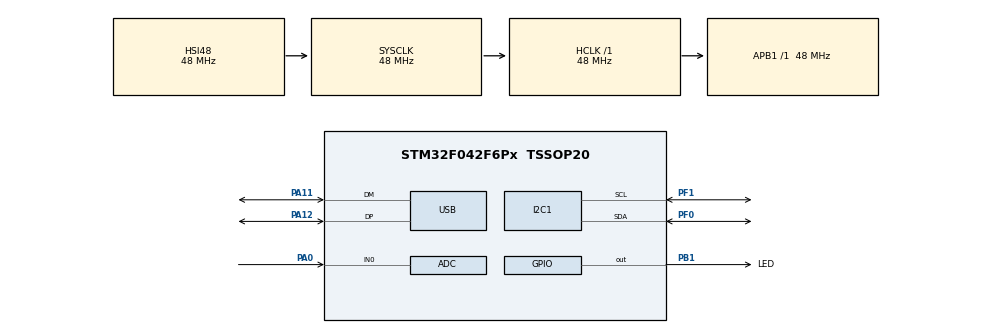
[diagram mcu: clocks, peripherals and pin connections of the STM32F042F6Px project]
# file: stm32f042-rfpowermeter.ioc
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ADC.ContinuousConvMode=ENABLE
Dma.ADC.0.Direction=DMA_PERIPH_TO_MEMORY
Dma.ADC.0.Instance=DMA1_Channel1
Dma.ADC.0.MemDataAlignment=DMA_MDATAALIGN_HALFWORD
Dma.ADC.0.MemInc=DMA_MINC_ENABLE
Dma.ADC.0.Mode=DMA_CIRCULAR
Dma.ADC.0.PeriphDataAlignment=DMA_PDATAALIGN_HALFWORD
Dma.ADC.0.PeriphInc=DMA_PINC_DISABLE
Dma.ADC.0.Priority=DMA_PRIORITY_LOW
Dma.Request0=ADC
Mcu.Family=STM32F0
Mcu.Name=STM32F042F6Px
Mcu.Package=TSSOP20
NVIC.DMA1_Channel1_IRQn=true\:0\:0\:false\:false\:true\:false\:true
NVIC.USB_IRQn=true\:0\:0\:false\:false\:true\:false\:true
PA0.Mode=IN0
PA0.Signal=ADC_IN0
PA11.Mode=Device
PA11.Signal=USB_DM
PA12.Mode=Device
PA12.Signal=USB_DP
PA13.Mode=Serial_Wire
PA13.Signal=SYS_SWDIO
PA14.Mode=Serial_Wire
PA14.Signal=SYS_SWCLK
PB1.GPIO_Label=LED
PB1.Signal=GPIO_Output
PF0-OSC_IN.Mode=I2C
PF0-OSC_IN.Signal=I2C1_SDA
PF1-OSC_OUT.Mode=I2C
PF1-OSC_OUT.Signal=I2C1_SCL
ProjectManager.HeapSize=0x100
ProjectManager.StackSize=0x100
ProjectManager.TargetToolchain=STM32CubeIDE
RCC.AHBFreq_Value=48000000
RCC.APB1Freq_Value=48000000
RCC.APB1TimFreq_Value=48000000
RCC.HCLKFreq_Value=48000000
RCC.SYSCLKFreq_VALUE=48000000
RCC.SYSCLKSource=RCC_SYSCLKSOURCE_HSI48
USB_DEVICE.APP_RX_DATA_SIZE=64
USB_DEVICE.APP_TX_DATA_SIZE=64
USB_DEVICE.CLASS_NAME_FS=CDC
USB_DEVICE.MANUFACTURER_STRING=ImanMicroelectronics
USB_DEVICE.PRODUCT_STRING_CDC_FS=Iman Virtual ComPort
USB_DEVICE.VirtualMode=Cdc
USB_DEVICE.VirtualModeFS=Cdc_FS
VP_SYS_VS_PINREMAP.Mode=PINREMAP
VP_USB_DEVICE_VS_USB_DEVICE_CDC_FS.Mode=CDC_FS
board=custom

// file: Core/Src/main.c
/* USER CODE BEGIN Header */
/**
  ******************************************************************************
  * @file           : main.c
  * @brief          : Main program body
  ******************************************************************************
  * @attention
  *
  * <h2><center>&copy; Copyright (c) 2020 STMicroelectronics.
  * All rights reserved.</center></h2>
  *
  * This software component is licensed by ST under BSD 3-Clause license,
  * the "License"; You may not use this file except in compliance with the
  * License. You may obtain a copy of the License at:
  *                        opensource.org/licenses/BSD-3-Clause
  *
  ******************************************************************************
  */
/* USER CODE END Header */
#include "main.h"
#include "usb_device.h"

/* USER CODE BEGIN Includes */
#include "ssd1306.h"
#include "stdio.h"
#include "usbd_cdc_if.h"
/* USER CODE END Includes */

/* USER CODE BEGIN PTD */
#define ADC_BUFFER_SIZE 64
/* USER CODE END PTD */

ADC_HandleTypeDef hadc;
DMA_HandleTypeDef hdma_adc;

I2C_HandleTypeDef hi2c1;

/* USER CODE BEGIN PV */
static uint16_t adcBuffer[ADC_BUFFER_SIZE];
static uint16_t avgValue;
static float p_in_V;
static float p_in_dB;
uint16_t read_update;
char dispBuffer[18];
/* USER CODE END PV */

void SystemClock_Config(void);
static void MX_GPIO_Init(void);
static void MX_DMA_Init(void);
static void MX_ADC_Init(void);
static void MX_I2C1_Init(void);

int main(void)
{

  /* MCU Configuration--------------------------------------------------------*/

  /* Reset of all peripherals, Initializes the Flash interface and the Systick. */
  HAL_Init();

  /* Configure the system clock */
  SystemClock_Config();

  /* Initialize all configured peripherals */
  MX_GPIO_Init();
  MX_DMA_Init();
  MX_ADC_Init();
  MX_I2C1_Init();
  MX_USB_DEVICE_Init();
  /* USER CODE BEGIN 2 */
  ssd1306_Init();
  ssd1306_Fill(Black);
  ssd1306_UpdateScreen();

  ssd1306_SetCursor(5, 5);
  sprintf(dispBuffer, "RF Power meter");
  ssd1306_WriteString(dispBuffer, Font_7x10, White);
  ssd1306_UpdateScreen();

  ssd1306_SetCursor(80, 35);
  sprintf(dispBuffer, "dBm");
  ssd1306_WriteString(dispBuffer, Font_11x18, White);
  ssd1306_UpdateScreen();

  /* USER CODE END 2 */

  /* Infinite loop */
  /* USER CODE BEGIN WHILE */
  read_update=0;
  avgValue=0;
  if (HAL_ADCEx_Calibration_Start(&hadc) != HAL_OK){
 	  Error_Handler();
   }

  HAL_ADC_Start_DMA(&hadc, (uint32_t *) adcBuffer, ADC_BUFFER_SIZE);

  while (1)
  {
    /* USER CODE END WHILE */

    /* USER CODE BEGIN 3 */
	  if(read_update==1)
	  {
		  read_update=0;
		  HAL_GPIO_TogglePin(LED_GPIO_Port, LED_Pin);

		 // get mean value
		  avgValue=adcBuffer[1];
		  for (int i=2;i<ADC_BUFFER_SIZE;i++)
		  {
			  avgValue = avgValue - avgValue/i + adcBuffer[i]/i; // Ayman's signature equation
		  }

		  // covert to dB
		  // equation -> y = -0.02x + 0.3
		  p_in_V = (float)avgValue* 0.0008f; // convert to voltage
		  p_in_dB = p_in_V * (-49.632f) + 12.777f; // convert to dB

		  // Extract integer part
		  int ipart = (int)p_in_dB;
		  // Extract floating part
		  float fpart = (p_in_dB - (float)ipart)*10.0;

		  // update OLED display
		  ssd1306_SetCursor(15, 35);
		  sprintf(dispBuffer, "     ");
		  ssd1306_WriteString(dispBuffer, Font_11x18, White);

		  ssd1306_SetCursor(15, 35);
		  sprintf(dispBuffer, "%c%2d.%d",
				  (char)((ipart<0)?'-':' '),
				  ((ipart<0)?(ipart*-1):ipart),
				  (char)((fpart<0)?(fpart*-1):fpart));
		  ssd1306_WriteString(dispBuffer, Font_11x18, White);
		  ssd1306_UpdateScreen();
		  memset(dispBuffer,0, sizeof(dispBuffer));

		  sprintf(dispBuffer, "%c%2d.%d\n",
		  				  (char)((ipart<0)?'-':' '),
		  				  ((ipart<0)?(ipart*-1):ipart),
		  				  (char)((fpart<0)?(fpart*-1):fpart));
		  CDC_Transmit_FS((uint8_t*)dispBuffer, sizeof(dispBuffer));
		  memset(dispBuffer,0, sizeof(dispBuffer));

		  HAL_ADC_Start_DMA(&hadc, (uint32_t *) adcBuffer, ADC_BUFFER_SIZE);

	  }
	  else
	  {

	  }

	 __NOP();

  }
  /* USER CODE END 3 */
}

void SystemClock_Config(void)
{
  RCC_OscInitTypeDef RCC_OscInitStruct = {0};
  RCC_ClkInitTypeDef RCC_ClkInitStruct = {0};
  RCC_PeriphCLKInitTypeDef PeriphClkInit = {0};

  /** Initializes the RCC Oscillators according to the specified parameters
  * in the RCC_OscInitTypeDef structure.
  */
  RCC_OscInitStruct.OscillatorType = RCC_OSCILLATORTYPE_HSI|RCC_OSCILLATORTYPE_HSI14
                              |RCC_OSCILLATORTYPE_HSI48;
  RCC_OscInitStruct.HSIState = RCC_HSI_ON;
  RCC_OscInitStruct.HSI48State = RCC_HSI48_ON;
  RCC_OscInitStruct.HSI14State = RCC_HSI14_ON;
  RCC_OscInitStruct.HSICalibrationValue = RCC_HSICALIBRATION_DEFAULT;
  RCC_OscInitStruct.HSI14CalibrationValue = 16;
  RCC_OscInitStruct.PLL.PLLState = RCC_PLL_NONE;
  if (HAL_RCC_OscConfig(&RCC_OscInitStruct) != HAL_OK)
  {
    Error_Handler();
  }
  /** Initializes the CPU, AHB and APB buses clocks
  */
  RCC_ClkInitStruct.ClockType = RCC_CLOCKTYPE_HCLK|RCC_CLOCKTYPE_SYSCLK
                              |RCC_CLOCKTYPE_PCLK1;
  RCC_ClkInitStruct.SYSCLKSource = RCC_SYSCLKSOURCE_HSI48;
  RCC_ClkInitStruct.AHBCLKDivider = RCC_SYSCLK_DIV1;
  RCC_ClkInitStruct.APB1CLKDivider = RCC_HCLK_DIV1;

  if (HAL_RCC_ClockConfig(&RCC_ClkInitStruct, FLASH_LATENCY_1) != HAL_OK)
  {
    Error_Handler();
  }
  PeriphClkInit.PeriphClockSelection = RCC_PERIPHCLK_USB|RCC_PERIPHCLK_I2C1;
  PeriphClkInit.I2c1ClockSelection = RCC_I2C1CLKSOURCE_HSI;
  PeriphClkInit.UsbClockSelection = RCC_USBCLKSOURCE_HSI48;

  if (HAL_RCCEx_PeriphCLKConfig(&PeriphClkInit) != HAL_OK)
  {
    Error_Handler();
  }
}

static void MX_ADC_Init(void)
{

  ADC_ChannelConfTypeDef sConfig = {0};

  /** Configure the global features of the ADC (Clock, Resolution, Data Alignment and number of conversion)
  */
  hadc.Instance = ADC1;
  hadc.Init.ClockPrescaler = ADC_CLOCK_ASYNC_DIV1;
  hadc.Init.Resolution = ADC_RESOLUTION_12B;
  hadc.Init.DataAlign = ADC_DATAALIGN_RIGHT;
  hadc.Init.ScanConvMode = ADC_SCAN_DIRECTION_FORWARD;
  hadc.Init.EOCSelection = ADC_EOC_SINGLE_CONV;
  hadc.Init.LowPowerAutoWait = DISABLE;
  hadc.Init.LowPowerAutoPowerOff = DISABLE;
  hadc.Init.ContinuousConvMode = ENABLE;
  hadc.Init.DiscontinuousConvMode = DISABLE;
  hadc.Init.ExternalTrigConv = ADC_SOFTWARE_START;
  hadc.Init.ExternalTrigConvEdge = ADC_EXTERNALTRIGCONVEDGE_NONE;
  hadc.Init.DMAContinuousRequests = DISABLE;
  hadc.Init.Overrun = ADC_OVR_DATA_PRESERVED;
  if (HAL_ADC_Init(&hadc) != HAL_OK)
  {
    Error_Handler();
  }
  /** Configure for the selected ADC regular channel to be converted.
  */
  sConfig.Channel = ADC_CHANNEL_0;
  sConfig.Rank = ADC_RANK_CHANNEL_NUMBER;
  sConfig.SamplingTime = ADC_SAMPLETIME_1CYCLE_5;
  if (HAL_ADC_ConfigChannel(&hadc, &sConfig) != HAL_OK)
  {
    Error_Handler();
  }

}

static void MX_I2C1_Init(void)
{

  hi2c1.Instance = I2C1;
  hi2c1.Init.Timing = 0x2000090E;
  hi2c1.Init.OwnAddress1 = 0;
  hi2c1.Init.AddressingMode = I2C_ADDRESSINGMODE_7BIT;
  hi2c1.Init.DualAddressMode = I2C_DUALADDRESS_DISABLE;
  hi2c1.Init.OwnAddress2 = 0;
  hi2c1.Init.OwnAddress2Masks = I2C_OA2_NOMASK;
  hi2c1.Init.GeneralCallMode = I2C_GENERALCALL_DISABLE;
  hi2c1.Init.NoStretchMode = I2C_NOSTRETCH_DISABLE;
  if (HAL_I2C_Init(&hi2c1) != HAL_OK)
  {
    Error_Handler();
  }
  /** Configure Analogue filter
  */
  if (HAL_I2CEx_ConfigAnalogFilter(&hi2c1, I2C_ANALOGFILTER_ENABLE) != HAL_OK)
  {
    Error_Handler();
  }
  /** Configure Digital filter
  */
  if (HAL_I2CEx_ConfigDigitalFilter(&hi2c1, 0) != HAL_OK)
  {
    Error_Handler();
  }

}

static void MX_DMA_Init(void)
{

  /* DMA controller clock enable */
  __HAL_RCC_DMA1_CLK_ENABLE();

  /* DMA interrupt init */
  /* DMA1_Channel1_IRQn interrupt configuration */
  HAL_NVIC_SetPriority(DMA1_Channel1_IRQn, 0, 0);
  HAL_NVIC_EnableIRQ(DMA1_Channel1_IRQn);

}

static void MX_GPIO_Init(void)
{
  GPIO_InitTypeDef GPIO_InitStruct = {0};

  /* GPIO Ports Clock Enable */
  __HAL_RCC_GPIOF_CLK_ENABLE();
  __HAL_RCC_GPIOA_CLK_ENABLE();
  __HAL_RCC_GPIOB_CLK_ENABLE();

  /*Configure GPIO pin Output Level */
  HAL_GPIO_WritePin(LED_GPIO_Port, LED_Pin, GPIO_PIN_RESET);

  /*Configure GPIO pin : LED_Pin */
  GPIO_InitStruct.Pin = LED_Pin;
  GPIO_InitStruct.Mode = GPIO_MODE_OUTPUT_PP;
  GPIO_InitStruct.Pull = GPIO_NOPULL;
  GPIO_InitStruct.Speed = GPIO_SPEED_FREQ_LOW;
  HAL_GPIO_Init(LED_GPIO_Port, &GPIO_InitStruct);

}

/* USER CODE BEGIN 4 */
void HAL_ADC_ConvCpltCallback(ADC_HandleTypeDef* hadc)
{
	HAL_ADC_Stop_DMA(hadc);
	read_update=1;
//	HAL_GPIO_TogglePin(LED_GPIO_Port, LED_Pin);
}
/* USER CODE END 4 */

void Error_Handler(void)
{
}

/************************ (C) COPYRIGHT STMicroelectronics *****END OF FILE****/
